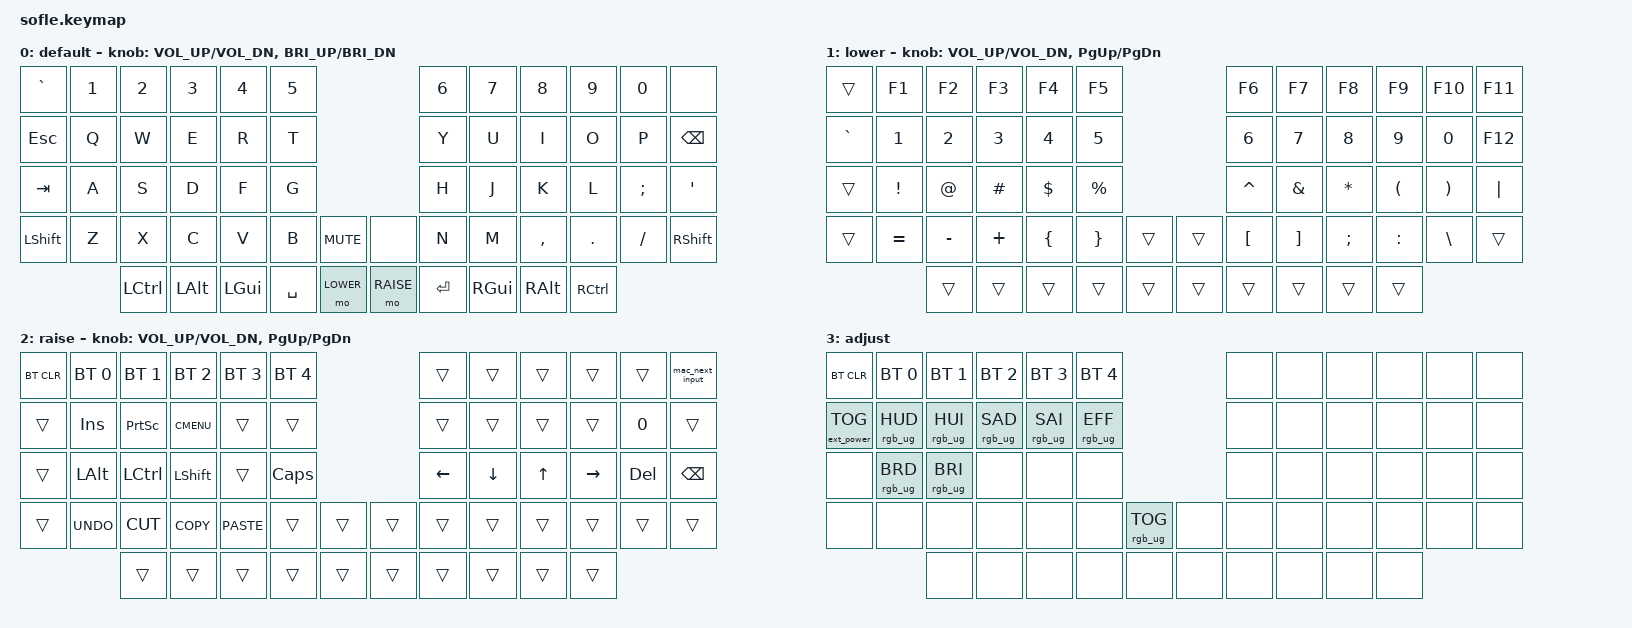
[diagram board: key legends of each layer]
/*
 * Copyright (c) 2020 The ZMK Contributors
 *
 * SPDX-License-Identifier: MIT
 */

#include <behaviors.dtsi>
#include <dt-bindings/zmk/keys.h>
#include <dt-bindings/zmk/bt.h>
#include <dt-bindings/zmk/rgb.h>
#include <dt-bindings/zmk/ext_power.h>

#define BASE 0
#define LOWER 1
#define RAISE 2
#define ADJUST 3

/ {
    /* macOS usually ignores HID "globe" on non-Apple keyboards. This sends the
     * default shortcut for "Select next source in Input menu" (⌃⌥Space).
     * Enable it under System Settings → Keyboard → Keyboard Shortcuts → Input Sources. */
    macros {
        mac_next_input: mac_next_input {
            compatible = "zmk,behavior-macro";
            #binding-cells = <0>;
            wait-ms = <5>;
            tap-ms = <10>;
            bindings = <&macro_press &kp LCTRL &macro_press &kp LALT &macro_tap &kp SPACE &macro_release &kp LALT &macro_release &kp LCTRL>;
        };
    };

   // Activate ADJUST layer by pressing raise and lower
    conditional_layers {
        compatible = "zmk,conditional-layers";
        adjust_layer {
            if-layers = <LOWER RAISE>;
            then-layer = <ADJUST>;
        };
    };

    keymap {
        compatible = "zmk,keymap";

        default_layer {
            display-name = "default";
// ------------------------------------------------------------------------------------------------------------
// |   `   |  1  |  2  |  3   |  4   |  5   |                   |  6   |  7    |  8    |  9   |   0   |       |
// |  ESC  |  Q  |  W  |  E   |  R   |  T   |                   |  Y   |  U    |  I    |  O   |   P   | BKSPC |
// |  TAB  |  A  |  S  |  D   |  F   |  G   |                   |  H   |  J    |  K    |  L   |   ;   |   '   |
// | SHIFT |  Z  |  X  |  C   |  V   |  B   |  MUTE  |  |       |  N   |  M    |  ,    |  .   |   /   | SHIFT |
//               | CTRL| ALT  | GUI  | LOWER|  SPACE |  | ENTER | RAISE| GUI   | ALT   | CTRL |
            bindings = <
&kp GRAVE &kp N1 &kp N2    &kp N3   &kp N4    &kp N5                           &kp N6 &kp N7    &kp N8    &kp N9   &kp N0   &none
&kp ESC   &kp Q  &kp W     &kp E    &kp R     &kp T                            &kp Y  &kp U     &kp I     &kp O    &kp P    &kp BSPC
&kp TAB   &kp A  &kp S     &kp D    &kp F     &kp G                            &kp H  &kp J     &kp K     &kp L    &kp SEMI &kp SQT
&kp LSHFT &kp Z  &kp X     &kp C    &kp V     &kp B      &kp C_MUTE &none      &kp N  &kp M     &kp COMMA &kp DOT  &kp FSLH &kp RSHFT
                 &kp LCTRL &kp LALT &kp LGUI &kp SPACE  &mo LOWER  &mo RAISE   &kp RET    &kp RGUI &kp RALT  &kp RCTRL
            >;

            sensor-bindings = <&inc_dec_kp C_VOL_UP C_VOL_DN &inc_dec_kp C_BRI_UP C_BRI_DN>;
        };

        lower_layer {
            display-name = "lower";
// TODO: Some binds are waiting for shifted keycode support.
// ------------------------------------------------------------------------------------------------------------
// |       |  F1 |  F2 |  F3  |  F4  |  F5  |                   |  F6  |  F7   |  F8   |  F9  |  F10  |  F11  |
// |   `   |  1  |  2  |  3   |  4   |  5   |                   |  6   |  7    |  8    |  9   |   0   |  F12  |
// |       |  !  |  @  |  #   |  $   |  %   |                   |  ^   |  &    |  *    |  (   |   )   |   |   |
// |       |  =  |  -  |  +   |  {   |  }   |        |  |       |  [   |  ]    |  ;    |  :   |   \   |       |
//               |     |      |      |      |        |  |       |      |       |       |      |
            bindings = <
&trans    &kp F1    &kp F2    &kp F3      &kp F4    &kp F5                    &kp F6    &kp F7   &kp F8    &kp F9    &kp F10   &kp F11
&kp GRAVE &kp N1    &kp N2    &kp N3      &kp N4    &kp N5                    &kp N6    &kp N7   &kp N8    &kp N9    &kp N0    &kp F12
&trans    &kp EXCL  &kp AT    &kp HASH    &kp DLLR  &kp PRCNT                 &kp CARET &kp AMPS &kp ASTRK &kp LPAR  &kp RPAR  &kp PIPE
&trans    &kp EQUAL &kp MINUS &kp PLUS &kp LBRC  &kp RBRC   &trans &trans  &kp LBKT  &kp RBKT &kp SEMI  &kp COLON &kp BSLH  &trans
                    &trans    &trans      &trans    &trans     &trans &trans  &trans    &trans   &trans    &trans
            >;

            sensor-bindings = <&inc_dec_kp C_VOL_UP C_VOL_DN &inc_dec_kp PG_UP PG_DN>;
        };

        raise_layer {
            display-name = "raise";
// ------------------------------------------------------------------------------------------------------------
// | BTCLR | BT1  | BT2  |  BT3  |  BT4  |  BT5 |                |      |      |       |      |       |       |
// |       | INS  | PSCR | GUI   |       |      |                | PGUP |      |   ^   |      |       |       |
// |       | ALT  | CTRL | SHIFT |       | CAPS |                | PGDN |   <- |   v   |  ->  |  DEL  | BKSPC |
// |       | UNDO | CUT  | COPY  | PASTE |      |      |  |      |      |      |       |      |       |       |
//                |      |       |       |      |      |  |      |      |      |       |      |
            bindings = <
&bt BT_CLR &bt BT_SEL 0 &bt BT_SEL 1 &bt BT_SEL 2 &bt BT_SEL 3 &bt BT_SEL 4                  &trans    &trans    &trans   &trans    &trans  &mac_next_input
&trans     &kp INS      &kp PSCRN    &kp K_CMENU  &trans       &trans                        &trans    &trans    &trans   &trans    &kp N0  &trans
&trans     &kp LALT     &kp LCTRL    &kp LSHFT    &trans       &kp CLCK                      &kp LEFT  &kp DOWN  &kp UP   &kp RIGHT &kp DEL &kp BSPC
&trans     &kp K_UNDO   &kp K_CUT    &kp K_COPY   &kp K_PASTE  &trans        &trans  &trans  &trans    &trans    &trans   &trans    &trans  &trans
                        &trans       &trans       &trans       &trans        &trans  &trans  &trans    &trans    &trans   &trans
            >;

            sensor-bindings = <&inc_dec_kp C_VOL_UP C_VOL_DN &inc_dec_kp PG_UP PG_DN>;
        };

        adjust_layer {
// ----------------------------------------------------------------------------------------------------------------------------
// | BTCLR  |  BT1    |  BT2    |   BT3   |   BT4   |   BT5   |                  |      |      |       |      |       |       |
// | EXTPWR | RGB_HUD | RGB_HUI | RGB_SAD | RGB_SAI | RGB_EFF |                  |      |      |       |      |       |       |
// |        | RGB_BRD | RGB_BRI |         |         |         |                  |      |      |       |      |       |       |
// |        |         |         |         |         |         | RGB_TOG | |      |      |      |       |      |       |       |
//                    |         |         |         |         |         | |      |      |      |       |      |
            display-name = "adjust";
            bindings = <
&bt BT_CLR        &bt BT_SEL 0    &bt BT_SEL 1    &bt BT_SEL 2    &bt BT_SEL 3    &bt BT_SEL 4                            &none &none &none &none &none &none
&ext_power EP_TOG &rgb_ug RGB_HUD &rgb_ug RGB_HUI &rgb_ug RGB_SAD &rgb_ug RGB_SAI &rgb_ug RGB_EFF                         &none &none &none &none &none &none
&none             &rgb_ug RGB_BRD &rgb_ug RGB_BRI &none           &none           &none                                   &none &none &none &none &none &none
&none             &none           &none           &none           &none           &none            &rgb_ug RGB_TOG &none  &none &none &none &none &none &none
                                  &none           &none           &none           &none            &none           &none  &none &none &none &none
            >;
        };

    };
};
